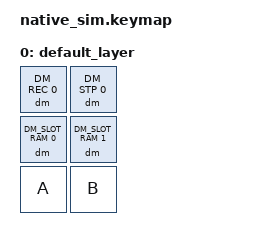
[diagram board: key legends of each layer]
#include <dt-bindings/zmk/keys.h>
#include <behaviors.dtsi>
#include <dt-bindings/zmk/kscan_mock.h>
#include <behaviors/dynamic_macro.dtsi>
#include <dt-bindings/zmk/dynamic_macros.h>

/*
 * Assign-to-occupied event coverage: assigning a fresh recording to a slot that
 * is already in use raises ERROR_SLOT_OCCUPIED and stays in assign-pending (state
 * remains ASSIGN_PENDING), so the user can pick another slot. Records A into slot
 * 0, records B, targets occupied slot 0 (rejected), then assigns B to empty slot 1.
 *
 * PERSIST=n forces NVS_SLOTS=0, so DM_SLOT_RAM 0/1 are machine slots 0/1.
 * FEEDBACK_OFF so the only stream is the dm_event notifications.
 *
 * Key layout (3 rows x 2 cols):
 *   (0,0)=REC        (0,1)=STP
 *   (1,0)=RAM slot 0 (1,1)=RAM slot 1
 *   (2,0)=A          (2,1)=B
 */

&kscan {
    rows = <3>;
    columns = <2>;
    exit-after;
    events = <
        /* REC A -> assign slot 0 */
        ZMK_MOCK_PRESS(0,0,10)
        ZMK_MOCK_RELEASE(0,0,10)
        ZMK_MOCK_PRESS(2,0,10)
        ZMK_MOCK_RELEASE(2,0,10)
        ZMK_MOCK_PRESS(0,1,10)
        ZMK_MOCK_RELEASE(0,1,10)
        ZMK_MOCK_PRESS(1,0,10)
        ZMK_MOCK_RELEASE(1,0,10)
        /* REC B -> stop */
        ZMK_MOCK_PRESS(0,0,10)
        ZMK_MOCK_RELEASE(0,0,10)
        ZMK_MOCK_PRESS(2,1,10)
        ZMK_MOCK_RELEASE(2,1,10)
        ZMK_MOCK_PRESS(0,1,10)
        ZMK_MOCK_RELEASE(0,1,10)
        /* target occupied slot 0 (rejected), then empty slot 1 (saved) */
        ZMK_MOCK_PRESS(1,0,10)
        ZMK_MOCK_RELEASE(1,0,10)
        ZMK_MOCK_PRESS(1,1,10)
        ZMK_MOCK_RELEASE(1,1,10)
    >;
};

/ {
    keymap {
        compatible = "zmk,keymap";
        default_layer {
            bindings = <
                &dm DM_REC 0      &dm DM_STP 0
                &dm DM_SLOT_RAM 0 &dm DM_SLOT_RAM 1
                &kp A             &kp B
            >;
        };
    };
};
